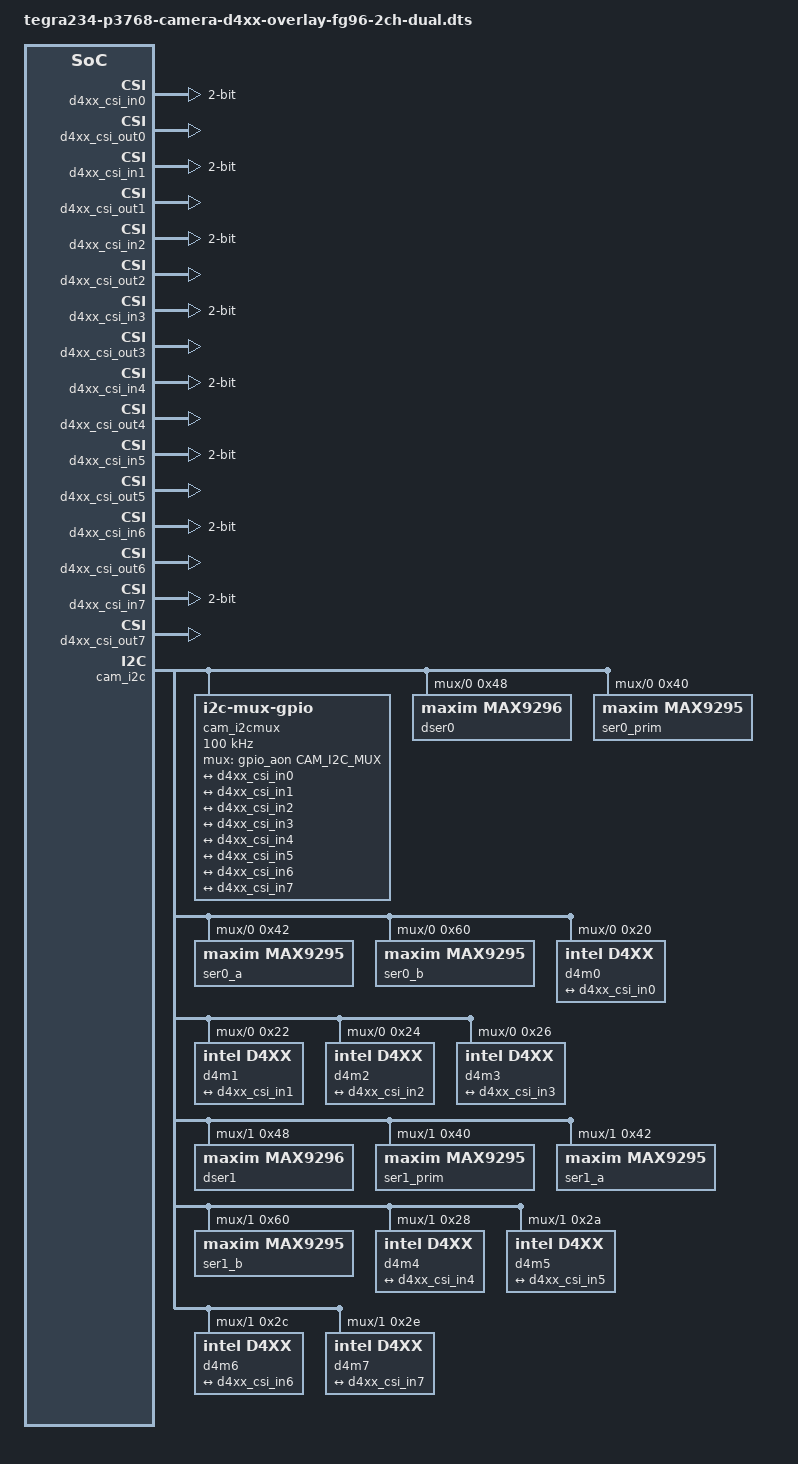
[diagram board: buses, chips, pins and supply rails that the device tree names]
// SPDX-License-Identifier: GPL-2.0-only
// SPDX-FileCopyrightText: Copyright (c) 2018-2023, INTEL CORPORATION.  All rights reserved.

/dts-v1/;
/plugin/;

#include <dt-bindings/clock/tegra234-clock.h>
#include <dt-bindings/gpio/tegra234-gpio.h>
#include <dt-bindings/tegra234-p3767-0000-common.h>

#define CAM0_PWDN   TEGRA234_MAIN_GPIO(H, 6)
#define CAM1_PWDN   TEGRA234_MAIN_GPIO(AC, 0)
#define CAM_I2C_MUX TEGRA234_AON_GPIO(CC, 3)

/* camera control gpio definitions */
/ {
	overlay-name = "Jetson RealSense Camera D457 FG96-2CH DUAL";
	jetson-header-name = "Jetson 24pin CSI Connector";
	compatible = JETSON_COMPATIBLE;

	fragment@0 {
		target-path = "/";
		__overlay__ {
			tegra-capture-vi {
				num-channels = <8>;
				ports {
					vi_port0: port@0 {
						status = "okay";
						reg = <0>;
						d4xx_vi_in0: endpoint {
							status = "okay";
							vc-id = <0>;
							port-index = <0>;
							bus-width = <2>;
							remote-endpoint = <&d4xx_csi_out0>;
						};
					};
					vi_port1: port@1 {
						status = "okay";
						reg = <1>;
						d4xx_vi_in1: endpoint {
							status = "okay";
							vc-id = <1>;
							port-index = <0>;
							bus-width = <2>;
							remote-endpoint = <&d4xx_csi_out1>;
						};
					};
					vi_port2: port@2 {
						status = "okay";
						reg = <2>;
						d4xx_vi_in2: endpoint {
							status = "okay";
							vc-id = <2>;
							port-index = <0>;
							bus-width = <2>;
							remote-endpoint = <&d4xx_csi_out2>;
						};
					};
					vi_port3: port@3 {
						status = "okay";
						reg = <3>;
						d4xx_vi_in3: endpoint {
							status = "okay";
							vc-id = <3>;
							port-index = <0>;
							bus-width = <2>;
							remote-endpoint = <&d4xx_csi_out3>;
						};
					};
					vi_port4: port@4 {
						status = "okay";
						reg = <4>;
						d4xx_vi_in4: endpoint {
							status = "okay";
							vc-id = <0>;
							port-index = <2>;
							bus-width = <2>;
							remote-endpoint = <&d4xx_csi_out4>;
						};
					};
					vi_port5: port@5 {
						status = "okay";
						reg = <5>;
						d4xx_vi_in5: endpoint {
							status = "okay";
							vc-id = <1>;
							port-index = <2>;
							bus-width = <2>;
							remote-endpoint = <&d4xx_csi_out5>;
						};
					};
					vi_port6: port@6 {
						status = "okay";
						reg = <6>;
						d4xx_vi_in6: endpoint {
							status = "okay";
							vc-id = <2>;
							port-index = <2>;
							bus-width = <2>;
							remote-endpoint = <&d4xx_csi_out6>;
						};
					};
					vi_port7: port@7 {
						status = "okay";
						reg = <7>;
						d4xx_vi_in7: endpoint {
							status = "okay";
							vc-id = <3>;
							port-index = <2>;
							bus-width = <2>;
							remote-endpoint = <&d4xx_csi_out7>;
						};
					};
				};
			};

			bus@0 {
				host1x@13e00000 {
					nvcsi@15a00000 {
						num-channels = <8>;
						channel@0 {
							status = "okay";
							reg = <0>;
							ports {
								port@0 {
									status = "okay";
									reg = <0>;
									d4xx_csi_in0: endpoint@0 {
										status = "okay";
										port-index = <0>;
										bus-width = <2>;
										remote-endpoint = <&d4m0_out>;
									};
								};
								port@1 {
									status = "okay";
									reg = <1>;
									d4xx_csi_out0: endpoint@1 {
										status = "okay";
										remote-endpoint = <&d4xx_vi_in0>;
									};
								};
							};
						};
						channel@1 {
							status = "okay";
							reg = <1>;
							ports {
								port@0 {
									status = "okay";
									reg = <0>;
									d4xx_csi_in1: endpoint@2 {
										status = "okay";
										port-index = <0>;
										bus-width = <2>;
										remote-endpoint = <&d4m1_out>;
									};
								};
								port@1 {
									status = "okay";
									reg = <1>;
									d4xx_csi_out1: endpoint@3 {
										status = "okay";
										remote-endpoint = <&d4xx_vi_in1>;
									};
								};
							};
						};
						channel@2 {
							status = "okay";
							reg = <2>;
							ports {
								port@0 {
									status = "okay";
									reg = <0>;
									d4xx_csi_in2: endpoint@4 {
										status = "okay";
										port-index = <0>;
										bus-width = <2>;
										remote-endpoint = <&d4m2_out>;
									};
								};
								port@1 {
									status = "okay";
									reg = <1>;
									d4xx_csi_out2: endpoint@5 {
										status = "okay";
										remote-endpoint = <&d4xx_vi_in2>;
									};
								};
							};
						};
						channel@3 {
							status = "okay";
							reg = <3>;
							ports {
								port@0 {
									status = "okay";
									reg = <0>;
									d4xx_csi_in3: endpoint@6 {
										status = "okay";
										port-index = <0>;
										bus-width = <2>;
										remote-endpoint = <&d4m3_out>;
									};
								};
								port@1 {
									reg = <1>;
									status = "okay";
									d4xx_csi_out3: endpoint@7 {
										status = "okay";
										remote-endpoint = <&d4xx_vi_in3>;
									};
								};
							};
						};
						channel@4 {
							status = "okay";
							reg = <4>;
							ports {
								port@0 {
									status = "okay";
									reg = <0>;
									d4xx_csi_in4: endpoint@8 {
										status = "okay";
										port-index = <2>;
										bus-width = <2>;
										remote-endpoint = <&d4m4_out>;
									};
								};
								port@1 {
									status = "okay";
									reg = <1>;
									d4xx_csi_out4: endpoint@9 {
										status = "okay";
										remote-endpoint = <&d4xx_vi_in4>;
									};
								};
							};
						};
						channel@5 {
							status = "okay";
							reg = <5>;
							ports {
								port@0 {
									status = "okay";
									reg = <0>;
									d4xx_csi_in5: endpoint@10 {
										status = "okay";
										port-index = <2>;
										bus-width = <2>;
										remote-endpoint = <&d4m5_out>;
									};
								};
								port@1 {
									status = "okay";
									reg = <1>;
									d4xx_csi_out5: endpoint@11 {
										status = "okay";
										remote-endpoint = <&d4xx_vi_in5>;
									};
								};
							};
						};
						channel@6 {
							status = "okay";
							reg = <6>;
							ports {
								port@0 {
									status = "okay";
									reg = <0>;
									d4xx_csi_in6: endpoint@12 {
										status = "okay";
										port-index = <2>;
										bus-width = <2>;
										remote-endpoint = <&d4m6_out>;
									};
								};
								port@1 {
									status = "okay";
									reg = <1>;
									d4xx_csi_out6: endpoint@13 {
										status = "okay";
										remote-endpoint = <&d4xx_vi_in6>;
									};
								};
							};
						};
						channel@7 {
							status = "okay";
							reg = <7>;
							ports {
								port@0 {
									status = "okay";
									reg = <0>;
									d4xx_csi_in7: endpoint@14 {
										status = "okay";
										port-index = <2>;
										bus-width = <2>;
										remote-endpoint = <&d4m7_out>;
									};
								};
								port@1 {
									reg = <1>;
									status = "okay";
									d4xx_csi_out7: endpoint@15 {
										status = "okay";
										remote-endpoint = <&d4xx_vi_in7>;
									};
								};
							};
						};
					};
				};

				cam_i2cmux {
					status = "okay";
					compatible = "i2c-mux-gpio";
					#address-cells = <1>;
					#size-cells = <0>;
					mux-gpios = <&gpio_aon CAM_I2C_MUX GPIO_ACTIVE_HIGH>;
					i2c-parent = <&cam_i2c>;
					clock-frequency = <100000>;
					i2c@0 {
						status = "okay";
						reg = <0>;
						#address-cells = <1>;
						#size-cells = <0>;
						/* MAX9296 I2C2_0x48 - CSI0/1 */
						dser0: max9296@48 {
							status = "okay";
							reg = <0x48>;
							compatible = "maxim,max9296";
							csi-mode = "2x4";
							max-src = <2>;
							is-fg96-2ch;
						};
						ser0_prim: max9295_prim@40 {
							reg = <0x40>;
							compatible = "maxim,max9295";
							is-prim-ser;
							ser-mux = <0>;
						};
						ser0_a: max9295_a@42 {
							reg = <0x42>;
							compatible = "maxim,max9295";
							maxim,gmsl-dser-device = <&dser0>;
						};
						ser0_b: max9295_b@60 {
							reg = <0x60>;
							compatible = "maxim,max9295";
							maxim,gmsl-dser-device = <&dser0>;
						};
						d4m0: d4m@20 {
							status = "okay";
							reg = <0x20>;
							def-addr = <0x10>;
							compatible = "intel,d4xx";
							use_sensor_mode_id = "true";
							cam-type = "Depth";
							maxim,gmsl-ser-device = <&ser0_a>;
							maxim,gmsl-dser-device = <&dser0>;
							intel,d4m-mux-device = <&d4m1>;
							ports {
								#address-cells = <1>;
								#size-cells = <0>;
								port@0 {
									reg = <0>;
									d4m0_out: endpoint {
										port-index = <0>;
										bus-width = <2>;
										vc-id = <0>;
										remote-endpoint = <&d4xx_csi_in0>;
									};
								};
							};
							mode0 {
								pixel_t = "grey_y16";
								num_lanes = "2";
								csi_pixel_bit_depth = "16";
								active_w = "1280";
								active_h = "720";
								tegra_sinterface = "serial_a";
								mclk_khz = "24000";
								pix_clk_hz = "74250000";
								line_length = "1280"; /* 2200 */
								embedded_metadata_height = "1";
							};
							gmsl-link {
								src-csi-port = "b";
								dst-csi-port = "a";
								serdes-csi-link = "a";
								csi-mode = "1x4";
								st-vc = <0>;
								vc-id = <0>;
								num-lanes = <2>;
								ser-mux = <0>;
							};
						};
						d4m1: d4m@22 {
							status = "okay";
							reg = <0x22>;
							def-addr = <0x10>;
							compatible = "intel,d4xx";
							use_sensor_mode_id = "true";
							cam-type = "Y8";
							maxim,gmsl-ser-device = <&ser0_a>;
							maxim,gmsl-dser-device = <&dser0>;
							intel,d4m-mux-device = <&d4m1>;
							ports {
								#address-cells = <1>;
								#size-cells = <0>;
								port@0 {
									reg = <0>;
									d4m1_out: endpoint {
										port-index = <0>;
										bus-width = <2>;
										vc-id = <1>;
										remote-endpoint = <&d4xx_csi_in1>;
									};
								};
							};
							mode0 {
								pixel_t = "grey_y16";
								num_lanes = "2";
								csi_pixel_bit_depth = "16";
								active_w = "1280";
								active_h = "720";
								tegra_sinterface = "serial_a";
								mclk_khz = "24000";
								pix_clk_hz = "74250000";
								line_length = "1280";
								embedded_metadata_height = "0";
							};
							gmsl-link {
								src-csi-port = "b";
								dst-csi-port = "a";
								serdes-csi-link = "a";
								csi-mode = "1x4";
								st-vc = <0>;
								vc-id = <1>;
								num-lanes = <2>;
								ser-mux = <0>;
							};
						};
						d4m2: d4m@24 {
							status = "okay";
							reg = <0x24>;
							def-addr = <0x10>;
							compatible = "intel,d4xx";
							use_sensor_mode_id = "true";
							cam-type = "Depth";
							maxim,gmsl-ser-device = <&ser0_b>;
							maxim,gmsl-dser-device = <&dser0>;
							intel,d4m-mux-device = <&d4m3>;
							ports {
								#address-cells = <1>;
								#size-cells = <0>;
								port@0 {
									reg = <0>;
									d4m2_out: endpoint {
										port-index = <0>;
										bus-width = <2>;
										vc-id = <2>;
										remote-endpoint = <&d4xx_csi_in2>;
									};
								};
							};
							mode0 {
								pixel_t = "grey_y16";
								num_lanes = "2";
								csi_pixel_bit_depth = "16";
								active_w = "1280";
								active_h = "720";
								tegra_sinterface = "serial_a";
								mclk_khz = "24000";
								pix_clk_hz = "74250000";
								line_length = "1280"; /* 2200 */
								embedded_metadata_height = "1";
							};
							gmsl-link {
								src-csi-port = "b";
								dst-csi-port = "a";
								serdes-csi-link = "b";
								csi-mode = "1x4";
								st-vc = <0>;
								vc-id = <2>;
								num-lanes = <2>;
								ser-mux = <0>;
							};
						};
						d4m3: d4m@26 {
							status = "okay";
							reg = <0x26>;
							def-addr = <0x10>;
							compatible = "intel,d4xx";
							use_sensor_mode_id = "true";
							cam-type = "Y8";
							maxim,gmsl-ser-device = <&ser0_b>;
							maxim,gmsl-dser-device = <&dser0>;
							intel,d4m-mux-device = <&d4m3>;
							ports {
								#address-cells = <1>;
								#size-cells = <0>;
								port@0 {
									reg = <0>;
									d4m3_out: endpoint {
										port-index = <0>;
										bus-width = <2>;
										vc-id = <3>;
										remote-endpoint = <&d4xx_csi_in3>;
									};
								};
							};
							mode0 {
								pixel_t = "grey_y16";
								num_lanes = "2";
								csi_pixel_bit_depth = "16";
								active_w = "1280";
								active_h = "720";
								tegra_sinterface = "serial_a";
								mclk_khz = "24000";
								pix_clk_hz = "74250000";
								line_length = "1280";
								embedded_metadata_height = "0";
							};
							gmsl-link {
								src-csi-port = "b";
								dst-csi-port = "a";
								serdes-csi-link = "b";
								csi-mode = "1x4";
								st-vc = <0>;
								vc-id = <3>;
								num-lanes = <2>;
								ser-mux = <0>;
							};
						};
					};

					i2c@1 {
						status = "okay";
						reg = <1>;
						#address-cells = <1>;
						#size-cells = <0>;
						/* MAX9296 I2C2_0x48 - CSI2/3 */
						dser1: max9296@48 {
							status = "okay";
							reg = <0x48>;
							compatible = "maxim,max9296";
							csi-mode = "2x4";
							max-src = <2>;
							is-fg96-2ch;
						};
						ser1_prim: max9295_prim@40 {
							status = "okay";
							reg = <0x40>;
							compatible = "maxim,max9295";
							is-prim-ser;
							ser-mux = <1>;
						};
						ser1_a: max9295_a@42 {
							compatible = "maxim,max9295";
							reg = <0x42>;
							maxim,gmsl-dser-device = <&dser1>;
						};
						ser1_b: max9295_b@60 {
							compatible = "maxim,max9295";
							reg = <0x60>;
							maxim,gmsl-dser-device = <&dser1>;
						};
						d4m4: d4m@28 {
							status = "okay";
							reg = <0x28>;
							def-addr = <0x10>;
							compatible = "intel,d4xx";
							use_sensor_mode_id = "true";
							cam-type = "Depth";
							maxim,gmsl-ser-device = <&ser1_a>;
							maxim,gmsl-dser-device = <&dser1>;
							intel,d4m-mux-device = <&d4m5>;
							ports {
								#address-cells = <1>;
								#size-cells = <0>;
								port@0 {
									reg = <0>;
									d4m4_out: endpoint {
										port-index = <2>;
										bus-width = <2>;
										vc-id = <0>;
										remote-endpoint = <&d4xx_csi_in4>;
									};
								};
							};
							mode0 {
								pixel_t = "grey_y16";
								num_lanes = "2";
								csi_pixel_bit_depth = "16";
								active_w = "1280";
								active_h = "720";
								tegra_sinterface = "serial_c";
								mclk_khz = "24000";
								pix_clk_hz = "74250000";
								line_length = "1280";
								embedded_metadata_height = "1";
							};
							gmsl-link {
								src-csi-port = "b";
								dst-csi-port = "a";
								serdes-csi-link = "a";
								csi-mode = "1x4";
								st-vc = <0>;
								vc-id = <0>;
								num-lanes = <2>;
								ser-mux = <1>;
							};
						};
						d4m5: d4m@2a {
							status = "okay";
							reg = <0x2a>;
							def-addr = <0x10>;
							compatible = "intel,d4xx";
							use_sensor_mode_id = "true";
							cam-type = "Y8";
							maxim,gmsl-ser-device = <&ser1_a>;
							maxim,gmsl-dser-device = <&dser1>;
							intel,d4m-mux-device = <&d4m5>;
							ports {
								#address-cells = <1>;
								#size-cells = <0>;
								port@0 {
									reg = <0>;
									d4m5_out: endpoint {
										port-index = <2>;
										bus-width = <2>;
										vc-id = <1>;
										remote-endpoint = <&d4xx_csi_in5>;
									};
								};
							};
							mode0 {
								pixel_t = "grey_y16";
								num_lanes = "2";
								csi_pixel_bit_depth = "16";
								active_w = "1280";
								active_h = "720";
								tegra_sinterface = "serial_c";
								mclk_khz = "24000";
								pix_clk_hz = "74250000";
								line_length = "1280";
								embedded_metadata_height = "0";
							};
							gmsl-link {
								src-csi-port = "b";
								dst-csi-port = "a";
								serdes-csi-link = "a";
								csi-mode = "1x4";
								st-vc = <0>;
								vc-id = <1>;
								num-lanes = <2>;
								ser-mux = <1>;
							};
						};
						d4m6: d4m@2c {
							status = "okay";
							reg = <0x2c>;
							def-addr = <0x10>;
							compatible = "intel,d4xx";
							use_sensor_mode_id = "true";
							cam-type = "Depth";
							maxim,gmsl-ser-device = <&ser1_b>;
							maxim,gmsl-dser-device = <&dser1>;
							intel,d4m-mux-device = <&d4m7>;
							ports {
								#address-cells = <1>;
								#size-cells = <0>;
								port@0 {
									reg = <0>;
									d4m6_out: endpoint {
										port-index = <2>;
										bus-width = <2>;
										vc-id = <2>;
										remote-endpoint = <&d4xx_csi_in6>;
									};
								};
							};
							mode0 {
								pixel_t = "grey_y16";
								num_lanes = "2";
								csi_pixel_bit_depth = "16";
								active_w = "1280";
								active_h = "720";
								tegra_sinterface = "serial_c";
								mclk_khz = "24000";
								pix_clk_hz = "74250000";
								line_length = "1280";
								embedded_metadata_height = "1";
							};
							gmsl-link {
								src-csi-port = "b";
								dst-csi-port = "a";
								serdes-csi-link = "b";
								csi-mode = "1x4";
								st-vc = <0>;
								vc-id = <2>;
								num-lanes = <2>;
								ser-mux = <1>;
							};
						};
						d4m7: d4m@2e {
							status = "okay";
							reg = <0x2e>;
							def-addr = <0x10>;
							compatible = "intel,d4xx";
							use_sensor_mode_id = "true";
							cam-type = "Y8";
							maxim,gmsl-ser-device = <&ser1_b>;
							maxim,gmsl-dser-device = <&dser1>;
							intel,d4m-mux-device = <&d4m7>;
							ports {
								#address-cells = <1>;
								#size-cells = <0>;
								port@0 {
									reg = <0>;
									d4m7_out: endpoint {
										port-index = <2>;
										bus-width = <2>;
										vc-id = <3>;
										remote-endpoint = <&d4xx_csi_in7>;
									};
								};
							};
							mode0 {
								pixel_t = "grey_y16";
								num_lanes = "2";
								csi_pixel_bit_depth = "16";
								active_w = "1280";
								active_h = "720";
								tegra_sinterface = "serial_c";
								mclk_khz = "24000";
								pix_clk_hz = "74250000";
								line_length = "1280";
								embedded_metadata_height = "0";
							};
							gmsl-link {
								src-csi-port = "b";
								dst-csi-port = "a";
								serdes-csi-link = "b";
								csi-mode = "1x4";
								st-vc = <0>;
								vc-id = <3>;
								num-lanes = <2>;
								ser-mux = <1>;
							};
						};
					};
				};
			};
		};
	};
};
